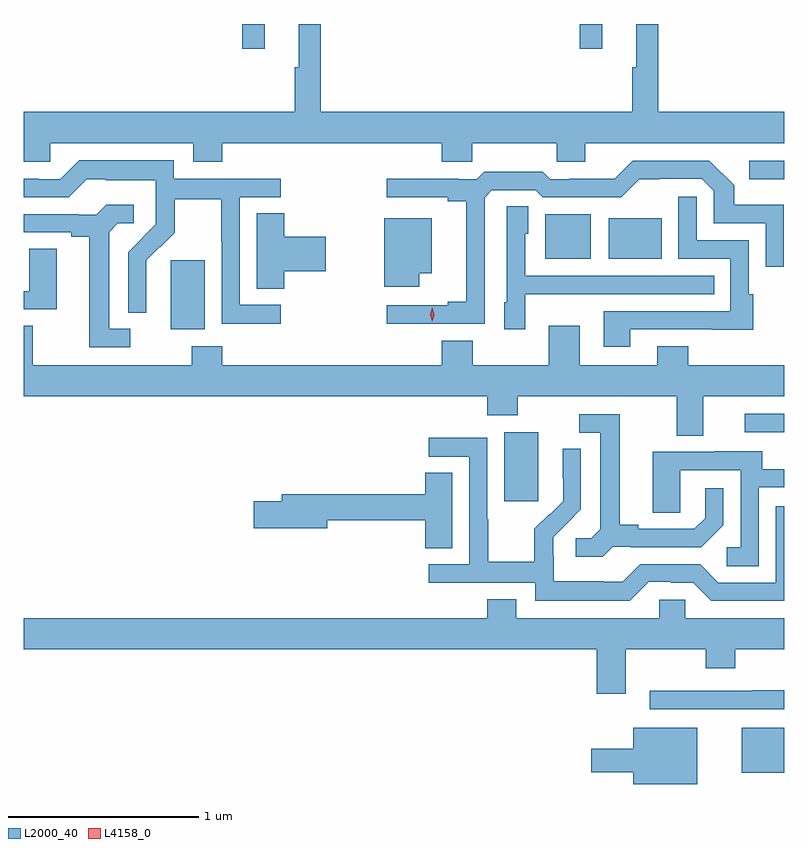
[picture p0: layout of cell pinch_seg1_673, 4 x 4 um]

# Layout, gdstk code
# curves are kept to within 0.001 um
import gdstk
lib = gdstk.Library(unit=1e-6, precision=1e-09)
def R(c, l, rs):  # rectangles x0, y0, x1, y1
    for r in rs: c.add(gdstk.rectangle(r[:2], r[2:], *l))
def P(c, l, *ps):  # polygons
    for p in ps: c.add(gdstk.Polygon(p, *l))
L2000_40 = (2000, 40)
L4158_0 = (4158, 0)

pinch_seg1_673 = lib.new_cell('pinch_seg1_673')
R(pinch_seg1_673, L2000_40, [(648.755,567.068,648.979,567.304), (647.507,568.497,647.686,568.858), (648.771,568.86,648.979,568.956), (645.752,569.402,645.931,569.763), (647.723,569.771,647.962,570.007), (648.056,569.771,648.334,569.986), (648.795,570.191,648.979,570.288), (646.129,570.876,646.247,571.007), (647.905,570.876,648.023,571.007)])
P(pinch_seg1_673, L2000_40, [(646.022,570.38),(647.177,570.38),(647.177,570.282),(647.337,570.282),(647.337,570.38),(647.782,570.38),(647.782,570.282),(647.932,570.282),(647.932,570.38),(648.979,570.38),(648.979,570.544),(648.317,570.544),(648.317,571.007),(648.2,571.007),(648.2,570.78),(648.181,570.78),(648.181,570.544),(646.541,570.544),(646.541,571.007),(646.424,571.007),(646.424,570.78),(646.405,570.78),(646.405,570.544),(644.979,570.544),(644.979,570.282),(645.117,570.282),(645.117,570.38),(645.869,570.38),(645.869,570.281),(646.022,570.281)],
  [(646.33,569.529),(646.116,569.529),(646.116,570.096),(646.33,570.096),(646.33,570.192),(645.768,570.192),(645.768,570.289),(645.271,570.289),(645.171,570.189),(645.056,570.189),(645.056,570.192),(644.979,570.192),(644.979,570.096),(645.216,570.096),(645.309,570.189),(645.409,570.189),(645.409,570.185),(645.672,570.185),(645.672,570.051),(645.674,570.051),(645.674,569.954),(645.528,569.806),(645.528,569.488),(645.624,569.488),(645.623,569.765),(645.693,569.835),(645.696,569.832),(645.773,569.909),(645.773,570.084),(646.018,570.084),(646.018,569.86),(646.02,569.86),(646.02,569.431),(646.33,569.431)],
  [(647.403,570.093),(647.442,570.132),(647.673,570.132),(647.709,570.096),(648.123,570.096),(648.218,570.191),(648.546,570.192),(648.609,570.129),(648.609,569.958),(648.882,569.958),(648.882,569.73),(648.978,569.73),(648.978,570.055),(648.717,570.055),(648.717,570.158),(648.586,570.288),(648.183,570.288),(648.089,570.194),(647.848,570.194),(647.848,570.189),(647.748,570.189),(647.709,570.229),(647.401,570.229),(647.361,570.189),(647.267,570.189),(647.267,570.194),(646.887,570.194),(646.887,570.096),(647.21,570.096),(647.21,570.074),(647.306,570.074),(647.306,569.546),(647.21,569.546),(647.21,569.526),(646.887,569.526),(646.887,569.43),(647.403,569.43)],
  [(648.169,569.4),(648.599,569.4),(648.599,569.399),(648.817,569.399),(648.817,569.586),(648.792,569.586),(648.792,569.868),(648.519,569.868),(648.519,570.097),(648.423,570.097),(648.423,569.772),(648.696,569.772),(648.696,569.496),(648.029,569.496),(648.029,569.31),(648.169,569.31)],
  [(645.538,569.403),(645.427,569.403),(645.427,569.911),(645.474,569.958),(645.556,569.958),(645.556,570.055),(645.412,570.055),(645.36,570.003),(645.266,570.003),(645.266,570.006),(644.979,570.006),(644.979,569.91),(645.227,569.91),(645.227,569.888),(645.323,569.888),(645.323,569.307),(645.538,569.307)],
  [(647.616,569.585),(647.933,569.585),(647.933,569.586),(648.611,569.586),(648.611,569.682),(647.616,569.682),(647.616,569.904),(647.632,569.904),(647.632,570.047),(647.52,570.047),(647.52,569.544),(647.507,569.544),(647.507,569.4),(647.616,569.4)],
  [(646.349,569.705),(646.567,569.705),(646.567,569.888),(646.349,569.888),(646.349,570.011),(646.205,570.011),(646.205,569.614),(646.349,569.614)],
  [(647.059,569.696),(647.125,569.696),(647.125,569.986),(646.874,569.986),(646.874,569.624),(647.059,569.624)],
  [(645.151,569.825),(645.006,569.825),(645.006,569.601),(644.979,569.601),(644.979,569.505),(645.151,569.505)],
  [(648.553,569.048),(648.979,569.048),(648.979,569.212),(648.475,569.212),(648.475,569.311),(648.311,569.311),(648.311,569.212),(647.905,569.212),(647.905,569.419),(647.741,569.419),(647.741,569.212),(647.341,569.212),(647.341,569.341),(647.177,569.341),(647.177,569.212),(646.022,569.212),(646.022,569.311),(645.862,569.311),(645.862,569.212),(645.025,569.212),(645.025,569.42),(644.979,569.42),(644.979,569.048),(647.417,569.048),(647.417,568.949),(647.577,568.949),(647.577,569.048),(648.413,569.048),(648.413,568.84),(648.553,568.84)],
  [(648.078,568.257),(648.172,568.257),(648.172,568.254),(648.544,568.254),(648.66,568.37),(648.66,568.564),(648.563,568.564),(648.563,568.407),(648.506,568.35),(648.211,568.35),(648.211,568.373),(648.115,568.373),(648.115,568.953),(647.901,568.953),(647.901,568.857),(648.011,568.857),(648.011,568.349),(647.964,568.302),(647.883,568.302),(647.883,568.205),(648.026,568.205)],
  [(648.267,568.071),(648.383,568.071),(648.383,568.068),(648.501,568.068),(648.597,567.972),(648.979,567.972),(648.979,568.47),(648.936,568.47),(648.936,568.068),(648.633,568.068),(648.537,568.164),(648.222,568.164),(648.129,568.071),(648.029,568.071),(648.029,568.075),(647.766,568.075),(647.766,568.209),(647.764,568.209),(647.764,568.306),(647.91,568.454),(647.91,568.772),(647.814,568.772),(647.814,568.618),(647.816,568.618),(647.816,568.496),(647.745,568.425),(647.742,568.428),(647.665,568.351),(647.665,568.177),(647.421,568.177),(647.421,568.4),(647.418,568.4),(647.418,568.83),(647.109,568.83),(647.109,568.731),(647.322,568.731),(647.322,568.164),(647.109,568.164),(647.109,568.068),(647.67,568.068),(647.67,567.971),(648.167,567.971)],
  [(648.846,568.569),(648.979,568.569),(648.979,568.665),(648.865,568.665),(648.865,568.759),(648.611,568.759),(648.611,568.755),(648.287,568.755),(648.287,568.435),(648.432,568.435),(648.432,568.659),(648.75,568.659),(648.75,568.254),(648.678,568.254),(648.678,568.153),(648.846,568.153)],
  [(647.233,568.646),(647.09,568.646),(647.09,568.532),(646.337,568.532),(646.337,568.496),(646.188,568.496),(646.188,568.354),(646.576,568.354),(646.576,568.396),(647.09,568.396),(647.09,568.249),(647.233,568.249)],
  [(648.145,567.716),(648.568,567.716),(648.568,567.617),(648.723,567.617),(648.723,567.716),(648.979,567.716),(648.979,567.88),(648.459,567.88),(648.459,567.978),(648.321,567.978),(648.321,567.88),(647.569,567.88),(647.569,567.979),(647.417,567.979),(647.417,567.88),(644.979,567.88),(644.979,567.716),(647.993,567.716),(647.993,567.483),(648.145,567.483)],
  [(648.979,567.5),(648.811,567.5),(648.811,567.498),(648.273,567.498),(648.273,567.402),(648.979,567.402)],
  [(648.523,567.304),(648.185,567.304),(648.185,567.193),(647.964,567.193),(647.964,567.071),(648.185,567.071),(648.185,567.008),(648.523,567.008)])
P(pinch_seg1_673, L4158_0, [(647.127,569.442),(647.127,569.442),(647.117,569.478),(647.127,569.514),(647.127,569.514),(647.127,569.514),(647.137,569.478),(647.127,569.442)])

lib.write_gds('pinch_seg1_673.gds')
